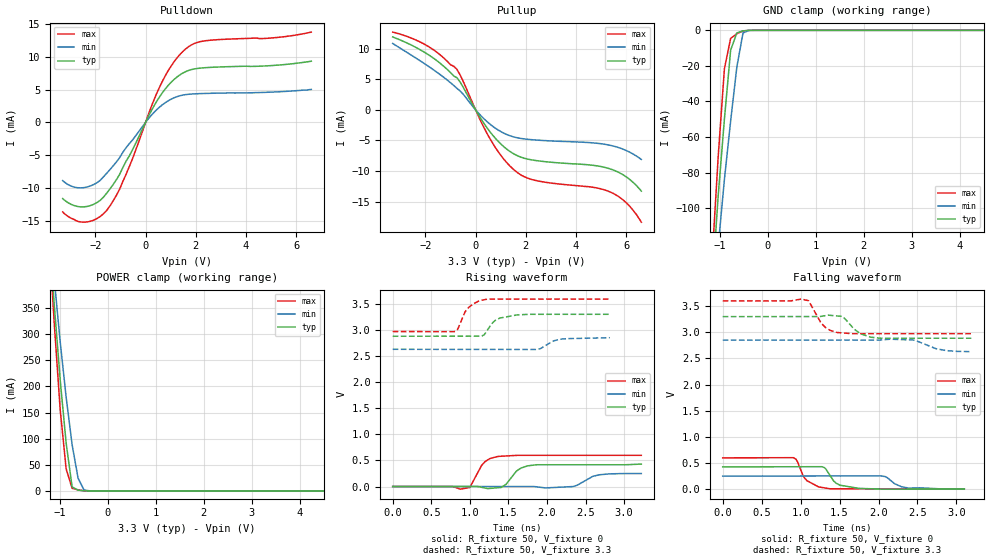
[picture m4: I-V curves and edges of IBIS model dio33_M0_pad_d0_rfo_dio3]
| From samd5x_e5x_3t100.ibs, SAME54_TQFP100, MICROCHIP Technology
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|   MODEL : dio33_M0_pad_d0_rfo_dio3
[Model] dio33_M0_pad_d0_rfo_dio3
Model_type I/O
Vinl  =  1.08
Vinh  =  2.52
Vmeas =  1.800
| Capacitance   typ   min   max
C_comp   1.940247098861728e-12   1.881466503605907e-12   1.951768607852667e-12
[Model Spec]
| Subparameter   typ   min   max
Vinl   0.99   0.855   1.08
Vinh   2.31   1.995   2.52
Vmeas   1.65   1.425   1.8
| Variables   typ   min   max
[GND Clamp Reference]   0   0   0
[POWER Clamp Reference]   3.3   2.85   3.6
[Pulldown Reference]   0   0   0
[Pullup Reference]   3.3   2.85   3.6
[Temperature Range]   25   125   -40
[Voltage Range]   3.3   2.85   3.6
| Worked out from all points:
|   slope of the pulldown table from 0 to 0.495 V, typ, clamps not added: 141 ohm
|   slope of the pullup table from 0 to 0.495 V, typ, clamps not added: 157 ohm
|   GND clamp passes 1 mA (typ) near -0.59 V on its own axis
|   POWER clamp passes 1 mA (typ) near -0.57 V on its own axis
|   falling waveform, R_fixture 50, V_fixture 0: 20-80 % time 148ps typ, 160ps min, 156ps max; typ from 0.426 V to 0 V
|   falling waveform, R_fixture 50, V_fixture 3.3: 20-80 % time 179ps typ, 246ps min, 164ps max; typ from 3.3 V to 2.89 V
|   rising waveform, R_fixture 50, V_fixture 0: 20-80 % time 160ps typ, 185ps min, 150ps max; typ from 0 V to 0.43 V
|   rising waveform, R_fixture 50, V_fixture 3.3: 20-80 % time 160ps typ, 179ps min, 151ps max; typ from 2.88 V to 3.3 V
[GND Clamp]
| Voltage   I(typ)   I(min)   I(max)
-3.3V     -1.337A    -1.205A    -1.47A
-1.164V   -144.5mA   -166.4mA   -129.6mA
-1.034V   -92.85mA   -121.4mA   -70.79mA
-905.2mV  -49.91mA   -83.74mA   -21.58mA
-775.9mV  -11.12mA   -51.08mA   -4.559mA
-646.6mV  -1.49mA    -20.67mA   -1.911mA
-517.2mV  -301uA     -1.43mA    -343.7uA
-387.9mV  -11.41uA   -57.72uA   -5.999uA
6.6V      0A         0A         0A
[POWER Clamp]
| Voltage   I(typ)   I(min)   I(max)
-3.3V     3.435A     2.984A     3.922A
-1.241V   514.7mA    536.5mA    506.8mA
-1.117V   356.9mA    406.1mA    321.2mA
-993.1mV  212.2mA    285.2mA    155.3mA
-869mV    91.32mA    179.3mA    42.21mA
-744.8mV  7.743mA    88.52mA    5.131mA
-620.7mV  1.545mA    24.45mA    1.912mA
-496.6mV  256.5uA    1.683mA    402.3uA
-372.4mV  9.073uA    81.91uA    20.49uA
6.6V      0A         0A         0A
[Pulldown]
| Voltage   I(typ)   I(min)   I(max)
-3.3V     -11.62mA   -8.88mA    -13.66mA
-2.457V   -12.89mA   -9.953mA   -15.22mA
-1.94V    -12.24mA   -9.21mA    -14.67mA
-1.552V   -10.81mA   -7.779mA   -13.46mA
-1.164V   -8.755mA   -6.049mA   -11.14mA
-775.9mV  -5.914mA   -3.857mA   -7.928mA
227.6mV   1.758mA    1.073mA    2.402mA
682.8mV   4.585mA    2.72mA     6.359mA
1.138V    6.553mA    3.75mA     9.259mA
1.707V    7.91mA     4.277mA    11.52mA
2.39V     8.339mA    4.409mA    12.44mA
6.6V      9.325mA    5.021mA    13.76mA
[Pullup]
| Voltage   I(typ)   I(min)   I(max)
-3.3V     11.92mA    10.85mA    12.71mA
-1.986V   9.287mA    7.413mA    10.61mA
-744.8mV  5.253mA    3.515mA    6.63mA
113.8mV   -801uA     -531.8uA   -1.036mA
569mV     -3.569mA   -2.328mA   -4.695mA
1.024V    -5.661mA   -3.606mA   -7.55mA
1.593V    -7.366mA   -4.514mA   -10.03mA
2.39V     -8.291mA   -4.938mA   -11.55mA
4.722V    -9.103mA   -5.426mA   -12.7mA
5.369V    -9.676mA   -5.816mA   -13.45mA
6.016V    -11.02mA   -6.688mA   -15.26mA
6.6V      -13.29mA   -8.116mA   -18.38mA
[Ramp]
dV/dt_r   0.255756/0.157595n  0.149934/0.187059n  0.35937/0.151492n
dV/dt_f   0.253042/0.191186n  0.13299/0.24887n  0.378846/0.166172n
R_load = 50
[Falling Waveform]
R_fixture = 50
V_fixture = 0
V_fixture_min = 0
V_fixture_max = 0
| Time   V(typ)   V(min)   V(max)
0s        426.3mV    249.9mV    599mV
906.7ps   428.7mV    251.4mV    601.9mV
1.08ns    429.2mV    251.7mV    162.8mV
1.302ns   415mV      252.1mV    25.78mV
1.377ns   263.8mV    252.2mV    7.44mV
1.502ns   76.69mV    252.4mV    7.437mV
1.747ns   15.34mV    252.8mV    7.432mV
2.085ns   385.8uV    240.6mV    7.425mV
2.388ns   385.4uV    20.84mV    7.419mV
3.101ns   385uV      0V         7.41mV
[Falling Waveform]
R_fixture = 50
V_fixture = 3.3
V_fixture_min = 2.85
V_fixture_max = 3.6
| Time   V(typ)   V(min)   V(max)
0s        3.3V       2.85V      3.6V
1.102ns   3.301V     2.85V      3.604V
1.261ns   3.305V     2.85V      3.18V
1.469ns   3.312V     2.851V     2.996V
1.571ns   3.257V     2.851V     2.984V
1.766ns   2.973V     2.851V     2.972V
1.901ns   2.906V     2.851V     2.972V
2.439ns   2.886V     2.853V     2.972V
2.737ns   2.886V     2.686V     2.972V
3.191ns   2.886V     2.629V     2.972V
[Rising Waveform]
R_fixture = 50
V_fixture = 0
V_fixture_min = 0
V_fixture_max = 0
| Time   V(typ)   V(min)   V(max)
0s        16.13nV    39.2nV     38.84nV
1ns       1.041mV    -50uV      -18.13mV
1.194ns   -28.15mV   -59.72uV   472.2mV
1.364ns   -23.19mV   -68.2uV    576.4mV
1.469ns   42.51mV    -73.49uV   585.1mV
1.606ns   297.7mV    -80.32uV   596.2mV
1.75ns    396.2mV    -87.51uV   597.3mV
2.339ns   417.1mV    -493.3uV   597.3mV
2.68ns    417.1mV    224.8mV    597.3mV
3.224ns   430mV      248.9mV    597.3mV
[Rising Waveform]
R_fixture = 50
V_fixture = 3.3
V_fixture_min = 2.85
V_fixture_max = 3.6
| Time   V(typ)   V(min)   V(max)
0s        2.878V     2.628V     2.969V
796.2ps   2.879V     2.627V     2.966V
971.5ps   2.879V     2.627V     3.413V
1.153ns   2.88V      2.626V     3.568V
1.231ns   3.003V     2.626V     3.591V
1.387ns   3.226V     2.626V     3.591V
1.614ns   3.287V     2.625V     3.591V
1.89ns    3.299V     2.631V     3.591V
2.192ns   3.299V     2.825V     3.591V
2.815ns   3.299V     2.85V      3.591V
